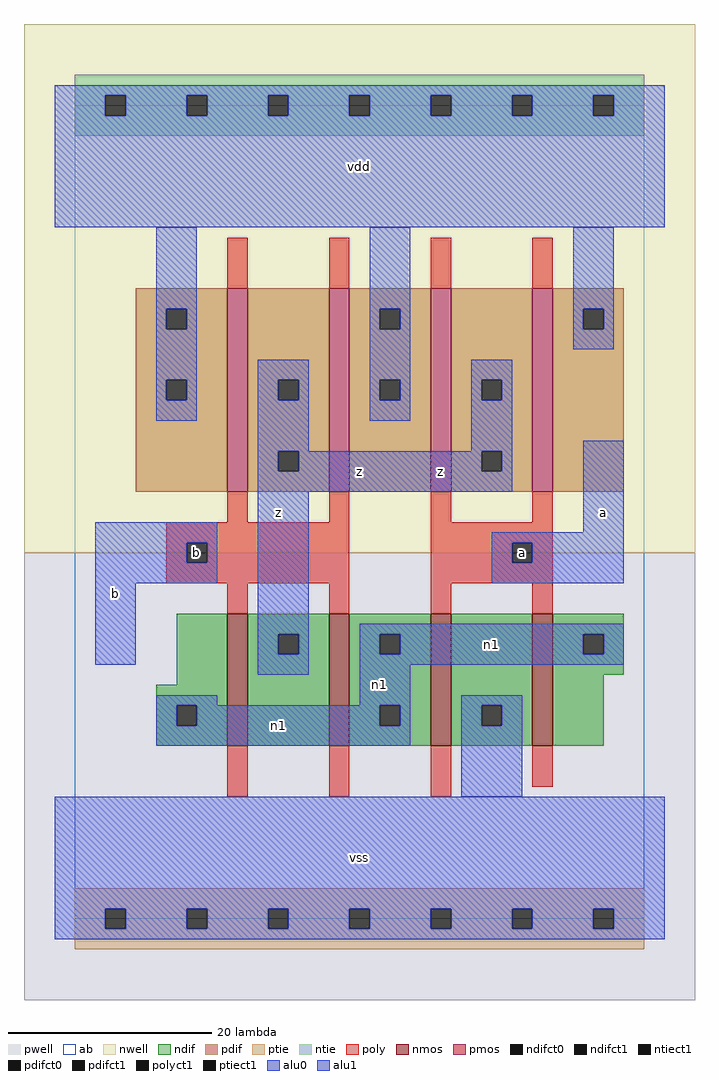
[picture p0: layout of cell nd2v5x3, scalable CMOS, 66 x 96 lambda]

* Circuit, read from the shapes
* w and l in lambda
.subckt nd2v5x3 a b n1 vdd vss z
M1 z b n1 vss nfet w=13 l=2 m=2
M2 vss a n1 vss nfet w=13 l=2 m=2
M3 z b vdd vdd pfet w=20 l=2 m=2
M4 z a vdd vdd pfet w=20 l=2 m=2
.ends

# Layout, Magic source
magic
tech scmos
<< ab >>
rect 0 0 56 80
<< nwell >>
rect -5 36 61 88
<< pwell >>
rect -5 -8 61 36
<< poly >>
rect 15 62 17 67
rect 25 62 27 67
rect 35 62 37 67
rect 45 62 47 67
rect 15 39 17 42
rect 25 39 27 42
rect 9 37 27 39
rect 9 35 11 37
rect 13 35 27 37
rect 9 33 27 35
rect 15 30 17 33
rect 25 30 27 33
rect 35 39 37 42
rect 45 39 47 42
rect 35 37 47 39
rect 35 35 43 37
rect 45 35 47 37
rect 35 33 47 35
rect 35 30 37 33
rect 45 30 47 33
rect 15 12 17 17
rect 25 12 27 17
rect 35 12 37 17
rect 45 13 47 17
<< ndif >>
rect 10 23 15 30
rect 8 21 15 23
rect 8 19 10 21
rect 12 19 15 21
rect 8 17 15 19
rect 17 28 25 30
rect 17 26 20 28
rect 22 26 25 28
rect 17 17 25 26
rect 27 28 35 30
rect 27 26 30 28
rect 32 26 35 28
rect 27 21 35 26
rect 27 19 30 21
rect 32 19 35 21
rect 27 17 35 19
rect 37 21 45 30
rect 37 19 40 21
rect 42 19 45 21
rect 37 17 45 19
rect 47 28 54 30
rect 47 26 50 28
rect 52 26 54 28
rect 47 24 54 26
rect 47 17 52 24
<< pdif >>
rect 6 60 15 62
rect 6 58 9 60
rect 11 58 15 60
rect 6 53 15 58
rect 6 51 9 53
rect 11 51 15 53
rect 6 42 15 51
rect 17 53 25 62
rect 17 51 20 53
rect 22 51 25 53
rect 17 46 25 51
rect 17 44 20 46
rect 22 44 25 46
rect 17 42 25 44
rect 27 60 35 62
rect 27 58 30 60
rect 32 58 35 60
rect 27 53 35 58
rect 27 51 30 53
rect 32 51 35 53
rect 27 42 35 51
rect 37 53 45 62
rect 37 51 40 53
rect 42 51 45 53
rect 37 46 45 51
rect 37 44 40 46
rect 42 44 45 46
rect 37 42 45 44
rect 47 60 54 62
rect 47 58 50 60
rect 52 58 54 60
rect 47 42 54 58
<< alu1 >>
rect -2 81 58 82
rect -2 79 3 81
rect 5 79 11 81
rect 13 79 19 81
rect 21 79 27 81
rect 29 79 35 81
rect 37 79 43 81
rect 45 79 51 81
rect 53 79 58 81
rect -2 68 58 79
rect 18 53 23 55
rect 18 51 20 53
rect 22 51 23 53
rect 18 46 23 51
rect 39 53 43 55
rect 39 51 40 53
rect 42 51 43 53
rect 39 46 43 51
rect 18 44 20 46
rect 22 44 40 46
rect 42 44 43 46
rect 18 42 43 44
rect 2 37 14 39
rect 2 35 11 37
rect 13 35 14 37
rect 2 33 14 35
rect 2 25 6 33
rect 18 28 23 42
rect 50 38 54 47
rect 41 37 54 38
rect 41 35 43 37
rect 45 35 54 37
rect 41 33 54 35
rect 18 26 20 28
rect 22 26 23 28
rect 18 24 23 26
rect -2 1 58 12
rect -2 -1 3 1
rect 5 -1 11 1
rect 13 -1 19 1
rect 21 -1 27 1
rect 29 -1 35 1
rect 37 -1 43 1
rect 45 -1 51 1
rect 53 -1 58 1
rect -2 -2 58 -1
<< ptie >>
rect 0 1 56 3
rect 0 -1 3 1
rect 5 -1 11 1
rect 13 -1 19 1
rect 21 -1 27 1
rect 29 -1 35 1
rect 37 -1 43 1
rect 45 -1 51 1
rect 53 -1 56 1
rect 0 -3 56 -1
<< ntie >>
rect 0 81 56 83
rect 0 79 3 81
rect 5 79 11 81
rect 13 79 19 81
rect 21 79 27 81
rect 29 79 35 81
rect 37 79 43 81
rect 45 79 51 81
rect 53 79 56 81
rect 0 77 56 79
<< nmos >>
rect 15 17 17 30
rect 25 17 27 30
rect 35 17 37 30
rect 45 17 47 30
<< pmos >>
rect 15 42 17 62
rect 25 42 27 62
rect 35 42 37 62
rect 45 42 47 62
<< polyct1 >>
rect 11 35 13 37
rect 43 35 45 37
<< ndifct0 >>
rect 10 19 12 21
rect 30 26 32 28
rect 30 19 32 21
rect 40 19 42 21
rect 50 26 52 28
<< ndifct1 >>
rect 20 26 22 28
<< ntiect1 >>
rect 3 79 5 81
rect 11 79 13 81
rect 19 79 21 81
rect 27 79 29 81
rect 35 79 37 81
rect 43 79 45 81
rect 51 79 53 81
<< ptiect1 >>
rect 3 -1 5 1
rect 11 -1 13 1
rect 19 -1 21 1
rect 27 -1 29 1
rect 35 -1 37 1
rect 43 -1 45 1
rect 51 -1 53 1
<< pdifct0 >>
rect 9 58 11 60
rect 9 51 11 53
rect 30 58 32 60
rect 30 51 32 53
rect 50 58 52 60
<< pdifct1 >>
rect 20 51 22 53
rect 20 44 22 46
rect 40 51 42 53
rect 40 44 42 46
<< alu0 >>
rect 8 60 12 68
rect 8 58 9 60
rect 11 58 12 60
rect 8 53 12 58
rect 29 60 33 68
rect 29 58 30 60
rect 32 58 33 60
rect 8 51 9 53
rect 11 51 12 53
rect 8 49 12 51
rect 29 53 33 58
rect 49 60 53 68
rect 49 58 50 60
rect 52 58 53 60
rect 49 56 53 58
rect 29 51 30 53
rect 32 51 33 53
rect 29 49 33 51
rect 28 28 54 29
rect 28 26 30 28
rect 32 26 50 28
rect 52 26 54 28
rect 28 25 54 26
rect 8 21 14 22
rect 28 21 33 25
rect 8 19 10 21
rect 12 19 30 21
rect 32 19 33 21
rect 8 17 33 19
rect 38 21 44 22
rect 38 19 40 21
rect 42 19 44 21
rect 38 12 44 19
<< labels >>
rlabel alu0 30 23 30 23 6 n1
rlabel alu0 20 19 20 19 6 n1
rlabel alu0 41 27 41 27 6 n1
rlabel alu1 4 32 4 32 6 b
rlabel polyct1 12 36 12 36 6 b
rlabel alu1 20 40 20 40 6 z
rlabel alu1 28 6 28 6 6 vss
rlabel alu1 36 44 36 44 6 z
rlabel alu1 28 44 28 44 6 z
rlabel alu1 28 74 28 74 6 vdd
rlabel polyct1 44 36 44 36 6 a
rlabel alu1 52 40 52 40 6 a
<< end >>
